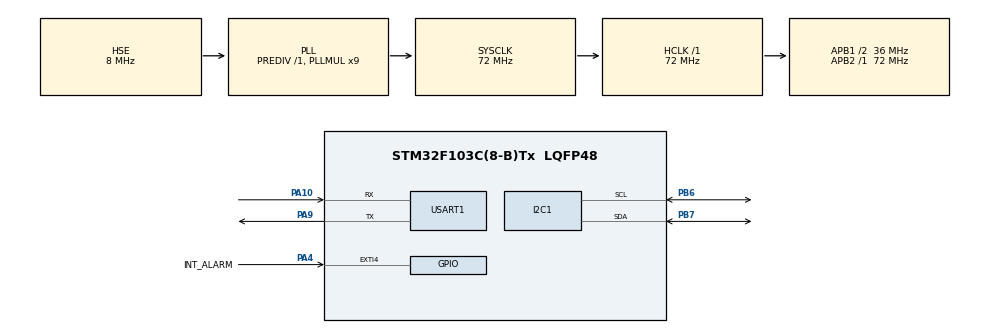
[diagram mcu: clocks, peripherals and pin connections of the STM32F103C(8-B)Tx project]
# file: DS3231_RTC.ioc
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Mcu.Family=STM32F1
Mcu.Name=STM32F103C(8-B)Tx
Mcu.Package=LQFP48
NVIC.EXTI4_IRQn=true\:1\:0\:true\:false\:true\:true\:true
NVIC.PriorityGroup=NVIC_PRIORITYGROUP_4
PA10.Mode=Asynchronous
PA10.Signal=USART1_RX
PA13.Mode=Serial_Wire
PA13.Signal=SYS_JTMS-SWDIO
PA14.Mode=Serial_Wire
PA14.Signal=SYS_JTCK-SWCLK
PA4.GPIO_Label=INT_ALARM
PA4.GPIO_ModeDefaultEXTI=GPIO_MODE_IT_FALLING
PA4.GPIO_PuPd=GPIO_PULLUP
PA4.Signal=GPXTI4
PA9.Mode=Asynchronous
PA9.Signal=USART1_TX
PB6.Mode=I2C
PB6.Signal=I2C1_SCL
PB7.Mode=I2C
PB7.Signal=I2C1_SDA
PD0-OSC_IN.Mode=HSE-External-Oscillator
PD0-OSC_IN.Signal=RCC_OSC_IN
PD1-OSC_OUT.Mode=HSE-External-Oscillator
PD1-OSC_OUT.Signal=RCC_OSC_OUT
ProjectManager.HeapSize=0x200
ProjectManager.StackSize=0x400
ProjectManager.TargetToolchain=TrueSTUDIO
RCC.AHBFreq_Value=72000000
RCC.APB1CLKDivider=RCC_HCLK_DIV2
RCC.APB1Freq_Value=36000000
RCC.APB1TimFreq_Value=72000000
RCC.APB2Freq_Value=72000000
RCC.APB2TimFreq_Value=72000000
RCC.HCLKFreq_Value=72000000
RCC.PLLMUL=RCC_PLL_MUL9
RCC.PLLSourceVirtual=RCC_PLLSOURCE_HSE
RCC.SYSCLKFreq_VALUE=72000000
RCC.SYSCLKSource=RCC_SYSCLKSOURCE_PLLCLK
RCC.USBFreq_Value=72000000
USART1.VirtualMode=VM_ASYNC
board=custom

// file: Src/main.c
/* USER CODE BEGIN Header */
/**
  ******************************************************************************
  * @file           : main.c
  * @brief          : Main program body
  ******************************************************************************
  ** This notice applies to any and all portions of this file
  * that are not between comment pairs USER CODE BEGIN and
  * USER CODE END. Other portions of this file, whether
  * inserted by the user or by software development tools
  * are owned by their respective copyright owners.
  *
  * COPYRIGHT(c) 2019 STMicroelectronics
  *
  * Redistribution and use in source and binary forms, with or without modification,
  * are permitted provided that the following conditions are met:
  *   1. Redistributions of source code must retain the above copyright notice,
  *      this list of conditions and the following disclaimer.
  *   2. Redistributions in binary form must reproduce the above copyright notice,
  *      this list of conditions and the following disclaimer in the documentation
  *      and/or other materials provided with the distribution.
  *   3. Neither the name of STMicroelectronics nor the names of its contributors
  *      may be used to endorse or promote products derived from this software
  *      without specific prior written permission.
  *
  * THIS SOFTWARE IS PROVIDED BY THE COPYRIGHT HOLDERS AND CONTRIBUTORS "AS IS"
  * AND ANY EXPRESS OR IMPLIED WARRANTIES, INCLUDING, BUT NOT LIMITED TO, THE
  * IMPLIED WARRANTIES OF MERCHANTABILITY AND FITNESS FOR A PARTICULAR PURPOSE ARE
  * DISCLAIMED. IN NO EVENT SHALL THE COPYRIGHT HOLDER OR CONTRIBUTORS BE LIABLE
  * FOR ANY DIRECT, INDIRECT, INCIDENTAL, SPECIAL, EXEMPLARY, OR CONSEQUENTIAL
  * DAMAGES (INCLUDING, BUT NOT LIMITED TO, PROCUREMENT OF SUBSTITUTE GOODS OR
  * SERVICES; LOSS OF USE, DATA, OR PROFITS; OR BUSINESS INTERRUPTION) HOWEVER
  * CAUSED AND ON ANY THEORY OF LIABILITY, WHETHER IN CONTRACT, STRICT LIABILITY,
  * OR TORT (INCLUDING NEGLIGENCE OR OTHERWISE) ARISING IN ANY WAY OUT OF THE USE
  * OF THIS SOFTWARE, EVEN IF ADVISED OF THE POSSIBILITY OF SUCH DAMAGE.
  *
  ******************************************************************************
  */
/* USER CODE END Header */
#include "main.h"

/* USER CODE BEGIN Includes */
#include "string.h"
#include "stdio.h"
#include "ds3231.h"
/* USER CODE END Includes */

I2C_HandleTypeDef hi2c1;

UART_HandleTypeDef huart1;

/* USER CODE BEGIN PV */
volatile uint8_t flag_clear_alarm = 0;
/* USER CODE END PV */

void SystemClock_Config(void);
static void MX_GPIO_Init(void);
static void MX_I2C1_Init(void);
static void MX_USART1_UART_Init(void);

/* USER CODE BEGIN 0 */
void I2C_Scan(I2C_HandleTypeDef *hi2c) // сканирует шину и показывает адреса устройств
{
    char info[] = "Scanning I2C bus...\n";
    HAL_UART_Transmit(&huart1, (uint8_t*)info, strlen(info), 1000);

    for(uint16_t i = 0; i < 128; i++)
    {
        if(HAL_I2C_IsDeviceReady(hi2c, i << 1, 1, 100) == HAL_OK)
        {
        	char msg[64] = {0,};
            snprintf(msg, 64, "Device: 0x%02X\n", i);
            HAL_UART_Transmit(&huart1, (uint8_t*)msg, strlen(msg), 1000);
        }
    }
}

void I2C_Error(char *er, uint32_t status) // ошибки i2c
{
	char str[64] = {0,};

	switch(status)
	{
		case HAL_ERROR:
			snprintf(str, 64, "%s - HAL_ERROR\n", er);
			HAL_UART_Transmit(&huart1, (uint8_t*)str, strlen(str), 1000);
		break;

		case HAL_BUSY:
			snprintf(str, 64, "%s - HAL_BUSY\n", er);
			HAL_UART_Transmit(&huart1, (uint8_t*)str, strlen(str), 1000);
		break;

		case HAL_TIMEOUT:
			snprintf(str, 64, "%s - HAL_TIMEOUT\n", er);
			HAL_UART_Transmit(&huart1, (uint8_t*)str, strlen(str), 1000);
		break;

		default:
		break;
	}

	uint32_t err = HAL_I2C_GetError(&hi2c1);

	switch(err)
	{
		case HAL_I2C_ERROR_NONE:
			snprintf(str, 64, "HAL_I2C_ERROR_NONE\n");
			HAL_UART_Transmit(&huart1, (uint8_t*)str, strlen(str), 1000);
		break;

		case HAL_I2C_ERROR_BERR:
			snprintf(str, 64, "HAL_I2C_ERROR_BERR\n");
			HAL_UART_Transmit(&huart1, (uint8_t*)str, strlen(str), 1000);
		break;

		case HAL_I2C_ERROR_ARLO:
			snprintf(str, 64, "HAL_I2C_ERROR_ARLO\n");
			HAL_UART_Transmit(&huart1, (uint8_t*)str, strlen(str), 1000);
		break;

		case HAL_I2C_ERROR_AF:
			snprintf(str, 64, "HAL_I2C_ERROR_AF\n");
			HAL_UART_Transmit(&huart1, (uint8_t*)str, strlen(str), 1000);
		break;

		case HAL_I2C_ERROR_OVR:
			snprintf(str, 64, "HAL_I2C_ERROR_OVR\n");
			HAL_UART_Transmit(&huart1, (uint8_t*)str, strlen(str), 1000);
		break;

		case HAL_I2C_ERROR_DMA:
			snprintf(str, 64, "HAL_I2C_ERROR_DMA\n");
			HAL_UART_Transmit(&huart1, (uint8_t*)str, strlen(str), 1000);
		break;

		case HAL_I2C_ERROR_TIMEOUT:
			snprintf(str, 64, "HAL_I2C_ERROR_TIMEOUT\n");
			HAL_UART_Transmit(&huart1, (uint8_t*)str, strlen(str), 1000);
		break;

		default:
		break;
	}

	while(1){}; // после вывода ошибки программа зацикливается
}

void HAL_GPIO_EXTI_Callback(uint16_t GPIO_Pin)
{
	if(GPIO_Pin == INT_ALARM_Pin)
	{
		//HAL_UART_Transmit(&huart1, (uint8_t*)"INT\n", 4, 1000);
		//flag_clear_alarm = 1;
	}

}
/* USER CODE END 0 */

int main(void)
{

  /* MCU Configuration--------------------------------------------------------*/

  /* Reset of all peripherals, Initializes the Flash interface and the Systick. */
  HAL_Init();

  /* Configure the system clock */
  SystemClock_Config();

  /* Initialize all configured peripherals */
  MX_GPIO_Init();
  MX_I2C1_Init();
  MX_USART1_UART_Init();
  /* USER CODE BEGIN 2 */
  I2C_Scan(&hi2c1); // НОМЕР I2C

  /////////////////////////////////////////////////////////////////////////////////////////////
  // устанока времени и даты ⇨ расскоментить ⇨ прошить ⇨ закомментить ⇨ прошить ⇨ пользоваться
  //setHour(22); // 0-23
  //setMinutes(23);
  //setSeconds(30);
  //setDate(24);
  //setMonth(5);
  //setYear(19);
  //setDay(1); // 1-7

  //Set_time_data();

  /////////////////////////////////////////////////////////////////////////////////////////////
  setOutput(OUTPUT_SQW); // разрешить вовод импульсов на пин SQW. OUTPUT_SQW - импульсы соответствующие функции setSQWRate(), OUTPUT_INT - прерывания от будильника

  setSQWRate(SQW_RATE_1); // 1Hz, SQW_RATE_1K - 1024Hz, SQW_RATE_4K - 4096Hz, SQW_RATE_8K - 8192Hz

  enable32KHz(0); // отключить вывод частоты на пин 32К, 1 - включить. (частота с кварца часов 32768)

  //setAlarm1(0, 0, 48, 20, EVERY_SECOND, 1);

  /* USER CODE END 2 */

  /* Infinite loop */
  /* USER CODE BEGIN WHILE */
  while (1)
  {
	  Read_time_data();

	  uint8_t h = readHours();
	  uint8_t m = readMinutes();
	  uint8_t s = readSeconds();

	  uint8_t date = readDate();
	  uint8_t month = readMonth();
	  uint8_t year = readYear();
	  uint8_t day = readDay();

	  char str[32] = {0,};
	  snprintf(str, 32, "Time %02d:%02d:%02d\n", h, m, s);
	  HAL_UART_Transmit(&huart1, (uint8_t*)str, strlen(str), 1000);

	  snprintf(str, 32, "Date %02d-%02d-20%02d day %d\n", date, month, year, day);
	  HAL_UART_Transmit(&huart1, (uint8_t*)str, strlen(str), 1000);

	  float t_ds = Read_temp_ds3213(); // температура внутри девайса обновляется каждые 64 секунды, можно запустить принудительное измерение, но я этого не стал прописывать в коде
	  snprintf(str, 32, "Temp %.2f\n", t_ds);
	  HAL_UART_Transmit(&huart1, (uint8_t*)str, strlen(str), 1000);

	  HAL_Delay(1000);

	  if(flag_clear_alarm)
	  {
		  flag_clear_alarm = 0;
		  clearAlarm1();
		  armAlarm1(0);
	  }

    /* USER CODE END WHILE */

  }
}

void SystemClock_Config(void)
{
  RCC_OscInitTypeDef RCC_OscInitStruct = {0};
  RCC_ClkInitTypeDef RCC_ClkInitStruct = {0};

  /** Initializes the RCC Oscillators according to the specified parameters
  * in the RCC_OscInitTypeDef structure.
  */
  RCC_OscInitStruct.OscillatorType = RCC_OSCILLATORTYPE_HSE;
  RCC_OscInitStruct.HSEState = RCC_HSE_ON;
  RCC_OscInitStruct.HSEPredivValue = RCC_HSE_PREDIV_DIV1;
  RCC_OscInitStruct.HSIState = RCC_HSI_ON;
  RCC_OscInitStruct.PLL.PLLState = RCC_PLL_ON;
  RCC_OscInitStruct.PLL.PLLSource = RCC_PLLSOURCE_HSE;
  RCC_OscInitStruct.PLL.PLLMUL = RCC_PLL_MUL9;
  if (HAL_RCC_OscConfig(&RCC_OscInitStruct) != HAL_OK)
  {
    Error_Handler();
  }
  /** Initializes the CPU, AHB and APB buses clocks
  */
  RCC_ClkInitStruct.ClockType = RCC_CLOCKTYPE_HCLK|RCC_CLOCKTYPE_SYSCLK
                              |RCC_CLOCKTYPE_PCLK1|RCC_CLOCKTYPE_PCLK2;
  RCC_ClkInitStruct.SYSCLKSource = RCC_SYSCLKSOURCE_PLLCLK;
  RCC_ClkInitStruct.AHBCLKDivider = RCC_SYSCLK_DIV1;
  RCC_ClkInitStruct.APB1CLKDivider = RCC_HCLK_DIV2;
  RCC_ClkInitStruct.APB2CLKDivider = RCC_HCLK_DIV1;

  if (HAL_RCC_ClockConfig(&RCC_ClkInitStruct, FLASH_LATENCY_2) != HAL_OK)
  {
    Error_Handler();
  }
}

static void MX_I2C1_Init(void)
{

  hi2c1.Instance = I2C1;
  hi2c1.Init.ClockSpeed = 100000;
  hi2c1.Init.DutyCycle = I2C_DUTYCYCLE_2;
  hi2c1.Init.OwnAddress1 = 0;
  hi2c1.Init.AddressingMode = I2C_ADDRESSINGMODE_7BIT;
  hi2c1.Init.DualAddressMode = I2C_DUALADDRESS_DISABLE;
  hi2c1.Init.OwnAddress2 = 0;
  hi2c1.Init.GeneralCallMode = I2C_GENERALCALL_DISABLE;
  hi2c1.Init.NoStretchMode = I2C_NOSTRETCH_DISABLE;
  if (HAL_I2C_Init(&hi2c1) != HAL_OK)
  {
    Error_Handler();
  }

}

static void MX_USART1_UART_Init(void)
{

  huart1.Instance = USART1;
  huart1.Init.BaudRate = 115200;
  huart1.Init.WordLength = UART_WORDLENGTH_8B;
  huart1.Init.StopBits = UART_STOPBITS_1;
  huart1.Init.Parity = UART_PARITY_NONE;
  huart1.Init.Mode = UART_MODE_TX_RX;
  huart1.Init.HwFlowCtl = UART_HWCONTROL_NONE;
  huart1.Init.OverSampling = UART_OVERSAMPLING_16;
  if (HAL_UART_Init(&huart1) != HAL_OK)
  {
    Error_Handler();
  }

}

static void MX_GPIO_Init(void)
{
  GPIO_InitTypeDef GPIO_InitStruct = {0};

  /* GPIO Ports Clock Enable */
  __HAL_RCC_GPIOD_CLK_ENABLE();
  __HAL_RCC_GPIOA_CLK_ENABLE();
  __HAL_RCC_GPIOB_CLK_ENABLE();

  /*Configure GPIO pin : INT_ALARM_Pin */
  GPIO_InitStruct.Pin = INT_ALARM_Pin;
  GPIO_InitStruct.Mode = GPIO_MODE_IT_FALLING;
  GPIO_InitStruct.Pull = GPIO_PULLUP;
  HAL_GPIO_Init(INT_ALARM_GPIO_Port, &GPIO_InitStruct);

  /* EXTI interrupt init*/
  HAL_NVIC_SetPriority(EXTI4_IRQn, 1, 0);
  HAL_NVIC_EnableIRQ(EXTI4_IRQn);

}

void Error_Handler(void)
{
}

/************************ (C) COPYRIGHT STMicroelectronics *****END OF FILE****/
